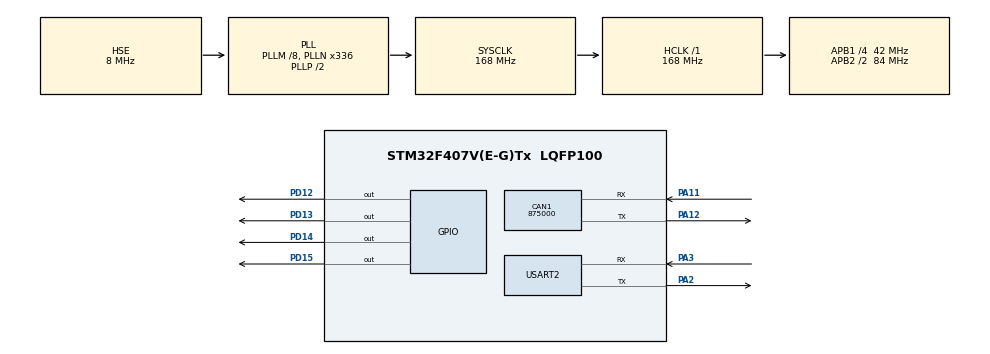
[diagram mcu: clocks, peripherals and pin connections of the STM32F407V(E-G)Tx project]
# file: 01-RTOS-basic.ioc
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CAN1.CalculateBaudRate=875000
CAN1.CalculateTimeBit=1142
CAN1.CalculateTimeQuantum=380.95238095238096
FREERTOS.Tasks01=O_LED_Task,24,128,start_O_LED_Task,Default,NULL,Dynamic,NULL,NULL;B_LED_Task,8,128,Start_B_LED_Task,Default,NULL,Dynamic,NULL,NULL;G_LED_Task,16,128,Start_G_LED_Task,Default,NULL,Dynamic,NULL,NULL;R_LED_Task,32,128,StartTask04,Default,NULL,Dynamic,NULL,NULL
Mcu.Family=STM32F4
Mcu.Name=STM32F407V(E-G)Tx
Mcu.Package=LQFP100
NVIC.PriorityGroup=NVIC_PRIORITYGROUP_4
NVIC.TIM6_DAC_IRQn=true\:0\:0\:false\:false\:true\:false\:false\:true\:true
NVIC.TimeBase=TIM6_DAC_IRQn
NVIC.TimeBaseIP=TIM6
PA11.Mode=CAN_Activate
PA11.Signal=CAN1_RX
PA12.Mode=CAN_Activate
PA12.Signal=CAN1_TX
PA2.Mode=Asynchronous
PA2.Signal=USART2_TX
PA3.Mode=Asynchronous
PA3.Signal=USART2_RX
PD12.Signal=GPIO_Output
PD13.Signal=GPIO_Output
PD14.Signal=GPIO_Output
PD15.Signal=GPIO_Output
PH0-OSC_IN.Mode=HSE-External-Oscillator
PH0-OSC_IN.Signal=RCC_OSC_IN
PH1-OSC_OUT.Mode=HSE-External-Oscillator
PH1-OSC_OUT.Signal=RCC_OSC_OUT
ProjectManager.HeapSize=0x200
ProjectManager.StackSize=0x400
ProjectManager.TargetToolchain=STM32CubeIDE
RCC.48MHZClocksFreq_Value=48000000
RCC.AHBFreq_Value=168000000
RCC.APB1CLKDivider=RCC_HCLK_DIV4
RCC.APB1Freq_Value=42000000
RCC.APB1TimFreq_Value=84000000
RCC.APB2CLKDivider=RCC_HCLK_DIV2
RCC.APB2Freq_Value=84000000
RCC.APB2TimFreq_Value=168000000
RCC.CortexFreq_Value=168000000
RCC.HCLKFreq_Value=168000000
RCC.HSE_VALUE=8000000
RCC.HSI_VALUE=16000000
RCC.LSE_VALUE=32768
RCC.PLLM=8
RCC.PLLN=336
RCC.PLLQ=7
RCC.PLLSourceVirtual=RCC_PLLSOURCE_HSE
RCC.SYSCLKFreq_VALUE=168000000
RCC.SYSCLKSource=RCC_SYSCLKSOURCE_PLLCLK
RCC.VCOOutputFreq_Value=336000000
USART2.VirtualMode=VM_ASYNC
VP_FREERTOS_VS_CMSIS_V2.Mode=CMSIS_V2
VP_SYS_VS_tim6.Mode=TIM6
board=STM32F407G-DISC1

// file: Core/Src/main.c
/* USER CODE BEGIN Header */
/**
  ******************************************************************************
  * @file           : main.c
  * @brief          : Main program body
  ******************************************************************************
  * @attention
  *
  * Copyright (c) 2026 STMicroelectronics.
  * All rights reserved.
  *
  * This software is licensed under terms that can be found in the LICENSE file
  * in the root directory of this software component.
  * If no LICENSE file comes with this software, it is provided AS-IS.
  *
  ******************************************************************************
  */
/* USER CODE END Header */
#include "main.h"
#include "cmsis_os.h"

/* USER CODE BEGIN Includes */
#include<stdio.h>
/* USER CODE END Includes */

CAN_HandleTypeDef hcan1;

UART_HandleTypeDef huart2;

/* Definitions for O_LED_Task */
osThreadId_t O_LED_TaskHandle;
const osThreadAttr_t O_LED_Task_attributes = {
  .name = "O_LED_Task",
  .stack_size = 128 * 4,
  .priority = (osPriority_t) osPriorityNormal,
};
/* Definitions for B_LED_Task */
osThreadId_t B_LED_TaskHandle;
const osThreadAttr_t B_LED_Task_attributes = {
  .name = "B_LED_Task",
  .stack_size = 128 * 4,
  .priority = (osPriority_t) osPriorityLow,
};
/* Definitions for G_LED_Task */
osThreadId_t G_LED_TaskHandle;
const osThreadAttr_t G_LED_Task_attributes = {
  .name = "G_LED_Task",
  .stack_size = 128 * 4,
  .priority = (osPriority_t) osPriorityBelowNormal,
};
/* Definitions for R_LED_Task */
osThreadId_t R_LED_TaskHandle;
const osThreadAttr_t R_LED_Task_attributes = {
  .name = "R_LED_Task",
  .stack_size = 128 * 4,
  .priority = (osPriority_t) osPriorityAboveNormal,
};
/* USER CODE BEGIN PV */
int _write(int file, char *ptr, int len)
{
    HAL_UART_Transmit(&huart2, (uint8_t*)ptr, len, HAL_MAX_DELAY);
    return len;
}
/* USER CODE END PV */

void SystemClock_Config(void);
static void MX_GPIO_Init(void);
static void MX_USART2_UART_Init(void);
static void MX_CAN1_Init(void);
void start_O_LED_Task(void *argument);
void Start_B_LED_Task(void *argument);
void Start_G_LED_Task(void *argument);
void StartTask04(void *argument);

int main(void)
{

  /* MCU Configuration--------------------------------------------------------*/

  /* Reset of all peripherals, Initializes the Flash interface and the Systick. */
  HAL_Init();

  /* Configure the system clock */
  SystemClock_Config();

  /* Initialize all configured peripherals */
  MX_GPIO_Init();
  MX_USART2_UART_Init();
  MX_CAN1_Init();
  /* USER CODE BEGIN 2 */
  printf("=== UART WORKING ===\r\n");
  /* USER CODE END 2 */

  /* Init scheduler */
  osKernelInitialize();

  /* Create the thread(s) */
  /* creation of O_LED_Task */
  O_LED_TaskHandle = osThreadNew(start_O_LED_Task, NULL, &O_LED_Task_attributes);

  /* creation of B_LED_Task */
  B_LED_TaskHandle = osThreadNew(Start_B_LED_Task, NULL, &B_LED_Task_attributes);

  /* creation of G_LED_Task */
  G_LED_TaskHandle = osThreadNew(Start_G_LED_Task, NULL, &G_LED_Task_attributes);

  /* creation of R_LED_Task */
  R_LED_TaskHandle = osThreadNew(StartTask04, NULL, &R_LED_Task_attributes);

  /* Start scheduler */
  osKernelStart();

  /* We should never get here as control is now taken by the scheduler */

  /* Infinite loop */
  while (1)
  {

  }
}

void SystemClock_Config(void)
{
  RCC_OscInitTypeDef RCC_OscInitStruct = {0};
  RCC_ClkInitTypeDef RCC_ClkInitStruct = {0};

  /** Configure the main internal regulator output voltage
  */
  __HAL_RCC_PWR_CLK_ENABLE();
  __HAL_PWR_VOLTAGESCALING_CONFIG(PWR_REGULATOR_VOLTAGE_SCALE1);

  /** Initializes the RCC Oscillators according to the specified parameters
  * in the RCC_OscInitTypeDef structure.
  */
  RCC_OscInitStruct.OscillatorType = RCC_OSCILLATORTYPE_HSE;
  RCC_OscInitStruct.HSEState = RCC_HSE_ON;
  RCC_OscInitStruct.PLL.PLLState = RCC_PLL_ON;
  RCC_OscInitStruct.PLL.PLLSource = RCC_PLLSOURCE_HSE;
  RCC_OscInitStruct.PLL.PLLM = 8;
  RCC_OscInitStruct.PLL.PLLN = 336;
  RCC_OscInitStruct.PLL.PLLP = RCC_PLLP_DIV2;
  RCC_OscInitStruct.PLL.PLLQ = 7;
  if (HAL_RCC_OscConfig(&RCC_OscInitStruct) != HAL_OK)
  {
    Error_Handler();
  }

  /** Initializes the CPU, AHB and APB buses clocks
  */
  RCC_ClkInitStruct.ClockType = RCC_CLOCKTYPE_HCLK|RCC_CLOCKTYPE_SYSCLK
                              |RCC_CLOCKTYPE_PCLK1|RCC_CLOCKTYPE_PCLK2;
  RCC_ClkInitStruct.SYSCLKSource = RCC_SYSCLKSOURCE_PLLCLK;
  RCC_ClkInitStruct.AHBCLKDivider = RCC_SYSCLK_DIV1;
  RCC_ClkInitStruct.APB1CLKDivider = RCC_HCLK_DIV4;
  RCC_ClkInitStruct.APB2CLKDivider = RCC_HCLK_DIV2;

  if (HAL_RCC_ClockConfig(&RCC_ClkInitStruct, FLASH_LATENCY_5) != HAL_OK)
  {
    Error_Handler();
  }
}

static void MX_CAN1_Init(void)
{

  hcan1.Instance = CAN1;
  hcan1.Init.Prescaler = 16;
  hcan1.Init.Mode = CAN_MODE_NORMAL;
  hcan1.Init.SyncJumpWidth = CAN_SJW_1TQ;
  hcan1.Init.TimeSeg1 = CAN_BS1_1TQ;
  hcan1.Init.TimeSeg2 = CAN_BS2_1TQ;
  hcan1.Init.TimeTriggeredMode = DISABLE;
  hcan1.Init.AutoBusOff = DISABLE;
  hcan1.Init.AutoWakeUp = DISABLE;
  hcan1.Init.AutoRetransmission = DISABLE;
  hcan1.Init.ReceiveFifoLocked = DISABLE;
  hcan1.Init.TransmitFifoPriority = DISABLE;
  if (HAL_CAN_Init(&hcan1) != HAL_OK)
  {
    Error_Handler();
  }

}

static void MX_USART2_UART_Init(void)
{

  huart2.Instance = USART2;
  huart2.Init.BaudRate = 115200;
  huart2.Init.WordLength = UART_WORDLENGTH_8B;
  huart2.Init.StopBits = UART_STOPBITS_1;
  huart2.Init.Parity = UART_PARITY_NONE;
  huart2.Init.Mode = UART_MODE_TX_RX;
  huart2.Init.HwFlowCtl = UART_HWCONTROL_NONE;
  huart2.Init.OverSampling = UART_OVERSAMPLING_16;
  if (HAL_UART_Init(&huart2) != HAL_OK)
  {
    Error_Handler();
  }

}

static void MX_GPIO_Init(void)
{
  GPIO_InitTypeDef GPIO_InitStruct = {0};

  /* GPIO Ports Clock Enable */
  __HAL_RCC_GPIOH_CLK_ENABLE();
  __HAL_RCC_GPIOA_CLK_ENABLE();
  __HAL_RCC_GPIOD_CLK_ENABLE();

  /*Configure GPIO pin Output Level */
  HAL_GPIO_WritePin(GPIOD, GPIO_PIN_12|GPIO_PIN_13|GPIO_PIN_14|GPIO_PIN_15, GPIO_PIN_RESET);

  /*Configure GPIO pins : PD12 PD13 PD14 PD15 */
  GPIO_InitStruct.Pin = GPIO_PIN_12|GPIO_PIN_13|GPIO_PIN_14|GPIO_PIN_15;
  GPIO_InitStruct.Mode = GPIO_MODE_OUTPUT_PP;
  GPIO_InitStruct.Pull = GPIO_NOPULL;
  GPIO_InitStruct.Speed = GPIO_SPEED_FREQ_LOW;
  HAL_GPIO_Init(GPIOD, &GPIO_InitStruct);

}

void start_O_LED_Task(void *argument)
{
  /* USER CODE BEGIN 5 */
  /* Infinite loop */
  for(;;)
  {
   HAL_GPIO_TogglePin(GPIOD, GPIO_PIN_13);
	 osDelay(500);
	  printf("Task 1 Completed\r\n");
	  osDelay(1000);
  }
  /* USER CODE END 5 */
}

void Start_B_LED_Task(void *argument)
{
  /* USER CODE BEGIN Start_B_LED_Task */
  /* Infinite loop */
  for(;;)
  {
	HAL_GPIO_TogglePin(GPIOD, GPIO_PIN_15);
    osDelay(500);
    printf("Task 2 Completed\r\n");
   	osDelay(1000);
  }
  /* USER CODE END Start_B_LED_Task */
}

void Start_G_LED_Task(void *argument)
{
  /* USER CODE BEGIN Start_G_LED_Task */
  /* Infinite loop */
  for(;;)
  {
	HAL_GPIO_TogglePin(GPIOD, GPIO_PIN_12);
    osDelay(500);
    printf("Task 3 Completed\r\n");
   	osDelay(1000);
  }

  /* USER CODE END Start_G_LED_Task */
}

void StartTask04(void *argument)
{
  /* USER CODE BEGIN StartTask04 */
  /* Infinite loop */
  for(;;)
  {
	 HAL_GPIO_TogglePin(GPIOD, GPIO_PIN_14);
   osDelay(500);
    printf("Task 4 Completed\r\n");
   	 osDelay(1000);
  }
  /* USER CODE END StartTask04 */
}

void HAL_TIM_PeriodElapsedCallback(TIM_HandleTypeDef *htim)
{
  if (htim->Instance == TIM6)
  {
    HAL_IncTick();
  }
}

void Error_Handler(void)
{
  __disable_irq();
  while (1)
  {
  }
}
